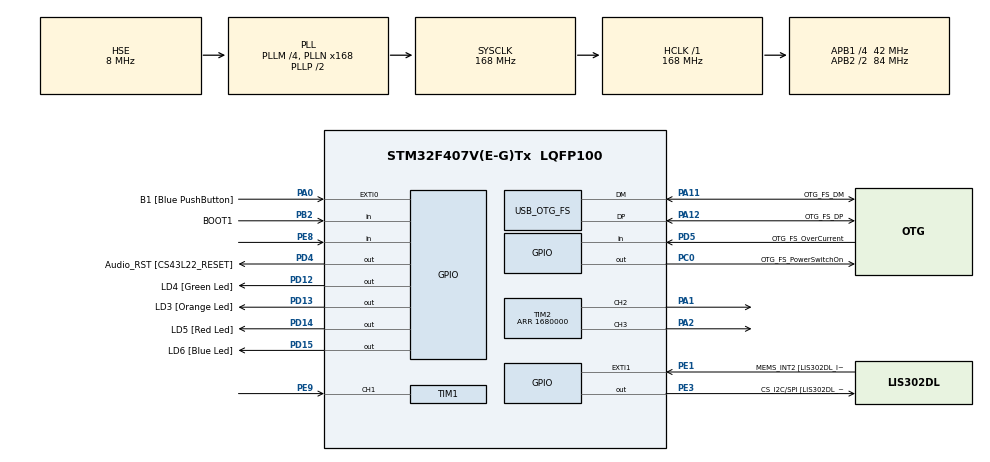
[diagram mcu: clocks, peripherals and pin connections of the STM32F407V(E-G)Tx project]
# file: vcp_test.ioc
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Mcu.Family=STM32F4
Mcu.Name=STM32F407V(E-G)Tx
Mcu.Package=LQFP100
NVIC.OTG_FS_IRQn=true\:0\:1\:true\:false\:true
NVIC.PriorityGroup=NVIC_PRIORITYGROUP_0
NVIC.TIM1_CC_IRQn=true\:0\:0\:false\:false\:true
PA0-WKUP.GPIO_Label=B1 [Blue PushButton]
PA0-WKUP.GPIO_ModeDefaultEXTI=GPIO_MODE_EVT_RISING
PA0-WKUP.GPIO_PuPd=GPIO_NOPULL
PA0-WKUP.Signal=GPXTI0
PA1.Signal=S_TIM2_CH2
PA10.GPIO_Label=OTG_FS_ID
PA10.GPIO_Mode=GPIO_MODE_AF_PP
PA10.GPIO_PuPd=GPIO_NOPULL
PA10.GPIO_Speed=GPIO_SPEED_FREQ_LOW
PA10.Signal=USB_OTG_FS_ID
PA11.GPIO_Label=OTG_FS_DM
PA11.GPIO_Mode=GPIO_MODE_AF_PP
PA11.GPIO_PuPd=GPIO_NOPULL
PA11.GPIO_Speed=GPIO_SPEED_FREQ_LOW
PA11.Mode=Device_Only
PA11.Signal=USB_OTG_FS_DM
PA12.GPIO_Label=OTG_FS_DP
PA12.GPIO_Mode=GPIO_MODE_AF_PP
PA12.GPIO_PuPd=GPIO_NOPULL
PA12.GPIO_Speed=GPIO_SPEED_FREQ_LOW
PA12.Mode=Device_Only
PA12.Signal=USB_OTG_FS_DP
PA13.GPIO_Label=SWDIO
PA13.Signal=SYS_JTMS-SWDIO
PA14.GPIO_Label=SWCLK
PA14.Signal=SYS_JTCK-SWCLK
PA2.Signal=S_TIM2_CH3
PA4.GPIO_Label=I2S3_WS [CS43L22_LRCK]
PA4.GPIO_Mode=GPIO_MODE_AF_PP
PA4.GPIO_PuPd=GPIO_NOPULL
PA4.GPIO_Speed=GPIO_SPEED_FREQ_LOW
PA4.Signal=I2S3_WS
PA5.GPIO_Label=SPI1_SCK [LIS302DL_SCL/SPC]
PA5.GPIO_Mode=GPIO_MODE_AF_PP
PA5.GPIO_PuPd=GPIO_NOPULL
PA5.GPIO_Speed=GPIO_SPEED_FREQ_LOW
PA5.Signal=SPI1_SCK
PA6.GPIO_Label=SPI1_MISO [LIS302DL_SDO]
PA6.GPIO_Mode=GPIO_MODE_AF_PP
PA6.GPIO_PuPd=GPIO_NOPULL
PA6.GPIO_Speed=GPIO_SPEED_FREQ_LOW
PA6.Signal=SPI1_MISO
PA7.GPIO_Label=SPI1_MOSI [LIS302DL_SDA/SDI/SDO]
PA7.GPIO_Mode=GPIO_MODE_AF_PP
PA7.GPIO_PuPd=GPIO_NOPULL
PA7.GPIO_Speed=GPIO_SPEED_FREQ_LOW
PA7.Signal=SPI1_MOSI
PA9.GPIO_Label=VBUS_FS
PA9.GPIO_Mode=GPIO_MODE_INPUT
PA9.GPIO_PuPd=GPIO_NOPULL
PA9.Signal=USB_OTG_FS_VBUS
PB10.GPIO_Label=CLK_IN [MP45DT02_CLK]
PB10.GPIO_Mode=GPIO_MODE_AF_PP
PB10.GPIO_PuPd=GPIO_NOPULL
PB10.GPIO_Speed=GPIO_SPEED_FREQ_LOW
PB10.Signal=I2S2_CK
PB2.GPIO_Label=BOOT1
PB2.GPIO_Mode=GPIO_MODE_INPUT
PB2.GPIO_PuPd=GPIO_NOPULL
PB2.Signal=GPIO_Input
PB3.GPIO_Label=SWO
PB3.Signal=SYS_JTDO-SWO
PB6.GPIO_Label=Audio_SCL [CS43L22_SCL]
PB6.GPIO_Mode=GPIO_MODE_AF_OD
PB6.GPIO_PuPd=GPIO_NOPULL
PB6.GPIO_Speed=GPIO_SPEED_FREQ_LOW
PB6.Signal=I2C1_SCL
PB9.GPIO_Label=Audio_SDA [CS43L22_SDA]
PB9.GPIO_Mode=GPIO_MODE_AF_OD
PB9.GPIO_PuPd=GPIO_NOPULL
PB9.GPIO_Speed=GPIO_SPEED_FREQ_LOW
PB9.Signal=I2C1_SDA
PC0.GPIO_Label=OTG_FS_PowerSwitchOn
PC0.GPIO_PuPd=GPIO_NOPULL
PC0.GPIO_Speed=GPIO_SPEED_FREQ_LOW
PC0.PinState=GPIO_PIN_SET
PC0.Signal=GPIO_Output
PC10.GPIO_Label=I2S3_SCK [CS43L22_SCLK]
PC10.GPIO_Mode=GPIO_MODE_AF_PP
PC10.GPIO_PuPd=GPIO_NOPULL
PC10.GPIO_Speed=GPIO_SPEED_FREQ_LOW
PC10.Signal=I2S3_CK
PC12.GPIO_Label=I2S3_SD [CS43L22_SDIN]
PC12.GPIO_Mode=GPIO_MODE_AF_PP
PC12.GPIO_PuPd=GPIO_NOPULL
PC12.GPIO_Speed=GPIO_SPEED_FREQ_LOW
PC12.Signal=I2S3_SD
PC14-OSC32_IN.GPIO_Label=PC14-OSC32_IN
PC14-OSC32_IN.Mode=LSE-External-Oscillator
PC14-OSC32_IN.Signal=RCC_OSC32_IN
PC15-OSC32_OUT.GPIO_Label=PC15-OSC32_OUT
PC15-OSC32_OUT.Mode=LSE-External-Oscillator
PC15-OSC32_OUT.Signal=RCC_OSC32_OUT
PC3.GPIO_Label=PDM_OUT [MP45DT02_DOUT]
PC3.GPIO_Mode=GPIO_MODE_AF_PP
PC3.GPIO_PuPd=GPIO_NOPULL
PC3.GPIO_Speed=GPIO_SPEED_FREQ_LOW
PC3.Signal=I2S2_SD
PC7.GPIO_Label=I2S3_MCK [CS43L22_MCLK]
PC7.GPIO_Mode=GPIO_MODE_AF_PP
PC7.GPIO_PuPd=GPIO_NOPULL
PC7.GPIO_Speed=GPIO_SPEED_FREQ_LOW
PC7.Signal=I2S3_MCK
PD12.GPIO_Label=LD4 [Green Led]
PD12.GPIO_PuPd=GPIO_NOPULL
PD12.GPIO_Speed=GPIO_SPEED_FREQ_LOW
PD12.Signal=GPIO_Output
PD13.GPIO_Label=LD3 [Orange Led]
PD13.GPIO_PuPd=GPIO_NOPULL
PD13.GPIO_Speed=GPIO_SPEED_FREQ_LOW
PD13.Signal=GPIO_Output
PD14.GPIO_Label=LD5 [Red Led]
PD14.GPIO_PuPd=GPIO_NOPULL
PD14.GPIO_Speed=GPIO_SPEED_FREQ_LOW
PD14.Signal=GPIO_Output
PD15.GPIO_Label=LD6 [Blue Led]
PD15.GPIO_PuPd=GPIO_NOPULL
PD15.GPIO_Speed=GPIO_SPEED_FREQ_LOW
PD15.Signal=GPIO_Output
PD4.GPIO_Label=Audio_RST [CS43L22_RESET]
PD4.GPIO_PuPd=GPIO_NOPULL
PD4.GPIO_Speed=GPIO_SPEED_FREQ_LOW
PD4.Signal=GPIO_Output
PD5.GPIO_Label=OTG_FS_OverCurrent
PD5.GPIO_Mode=GPIO_MODE_INPUT
PD5.GPIO_PuPd=GPIO_NOPULL
PD5.Signal=GPIO_Input
PE1.GPIO_Label=MEMS_INT2 [LIS302DL_INT2]
PE1.GPIO_ModeDefaultEXTI=GPIO_MODE_EVT_RISING
PE1.GPIO_PuPd=GPIO_NOPULL
PE1.Signal=GPXTI1
PE3.GPIO_Label=CS_I2C/SPI [LIS302DL_CS_I2C/SPI]
PE3.GPIO_PuPd=GPIO_NOPULL
PE3.GPIO_Speed=GPIO_SPEED_FREQ_LOW
PE3.Signal=GPIO_Output
PE8.Signal=GPIO_Input
PE9.Signal=S_TIM1_CH1
PH0-OSC_IN.GPIO_Label=PH0-OSC_IN
PH0-OSC_IN.Mode=HSE-External-Oscillator
PH0-OSC_IN.Signal=RCC_OSC_IN
PH1-OSC_OUT.GPIO_Label=PH1-OSC_OUT
PH1-OSC_OUT.Mode=HSE-External-Oscillator
PH1-OSC_OUT.Signal=RCC_OSC_OUT
ProjectManager.HeapSize=0x200
ProjectManager.StackSize=0x400
ProjectManager.TargetToolchain=MDK-ARM V5
RCC.48MHZClocksFreq_Value=48000000
RCC.AHBFreq_Value=168000000
RCC.APB1CLKDivider=RCC_HCLK_DIV4
RCC.APB1Freq_Value=42000000
RCC.APB1TimFreq_Value=84000000
RCC.APB2CLKDivider=RCC_HCLK_DIV2
RCC.APB2Freq_Value=84000000
RCC.APB2TimFreq_Value=168000000
RCC.CortexFreq_Value=168000000
RCC.HCLKFreq_Value=168000000
RCC.HSE_VALUE=8000000
RCC.HSI_VALUE=16000000
RCC.PLLM=4
RCC.PLLN=168
RCC.PLLQ=7
RCC.SYSCLKFreq_VALUE=168000000
RCC.SYSCLKSource=RCC_SYSCLKSOURCE_PLLCLK
RCC.VCOOutputFreq_Value=336000000
SH.S_TIM1_CH1.0=TIM1_CH1,Input_Capture1_from_TI1
SH.S_TIM2_CH2.0=TIM2_CH2,PWM Generation2 CH2
SH.S_TIM2_CH3.0=TIM2_CH3,PWM Generation3 CH3
TIM1.Channel-Input_Capture1_from_TI1=TIM_CHANNEL_1
TIM1.ICPrescaler-Input_Capture1_from_TI1=TIM_ICPSC_DIV4
TIM1.Period=9999
TIM1.Prescaler=167
TIM2.Channel-PWM\ Generation2\ CH2=TIM_CHANNEL_2
TIM2.Channel-PWM\ Generation3\ CH3=TIM_CHANNEL_3
TIM2.Period=1680000
USB_DEVICE.CLASS_NAME_FS=CDC
USB_DEVICE.VirtualModeFS=Cdc_FS
USB_OTG_FS.VirtualMode=Device_Only
VP_USB_DEVICE_VS_USB_DEVICE_CDC_FS.Mode=CDC_FS
board=STM32F4DISCOVERY

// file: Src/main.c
/**
  ******************************************************************************
  * File Name          : main.c
  * Description        : Main program body
  ******************************************************************************
  * This notice applies to any and all portions of this file
  * that are not between comment pairs USER CODE BEGIN and
  * USER CODE END. Other portions of this file, whether
  * inserted by the user or by software development tools
  * are owned by their respective copyright owners.
  *
  * Copyright (c) 2017 STMicroelectronics International N.V.
  * All rights reserved.
  *
  * Redistribution and use in source and binary forms, with or without
  * modification, are permitted, provided that the following conditions are met:
  *
  * 1. Redistribution of source code must retain the above copyright notice,
  *    this list of conditions and the following disclaimer.
  * 2. Redistributions in binary form must reproduce the above copyright notice,
  *    this list of conditions and the following disclaimer in the documentation
  *    and/or other materials provided with the distribution.
  * 3. Neither the name of STMicroelectronics nor the names of other
  *    contributors to this software may be used to endorse or promote products
  *    derived from this software without specific written permission.
  * 4. This software, including modifications and/or derivative works of this
  *    software, must execute solely and exclusively on microcontroller or
  *    microprocessor devices manufactured by or for STMicroelectronics.
  * 5. Redistribution and use of this software other than as permitted under
  *    this license is void and will automatically terminate your rights under
  *    this license.
  *
  * THIS SOFTWARE IS PROVIDED BY STMICROELECTRONICS AND CONTRIBUTORS "AS IS"
  * AND ANY EXPRESS, IMPLIED OR STATUTORY WARRANTIES, INCLUDING, BUT NOT
  * LIMITED TO, THE IMPLIED WARRANTIES OF MERCHANTABILITY, FITNESS FOR A
  * PARTICULAR PURPOSE AND NON-INFRINGEMENT OF THIRD PARTY INTELLECTUAL PROPERTY
  * RIGHTS ARE DISCLAIMED TO THE FULLEST EXTENT PERMITTED BY LAW. IN NO EVENT
  * SHALL STMICROELECTRONICS OR CONTRIBUTORS BE LIABLE FOR ANY DIRECT, INDIRECT,
  * INCIDENTAL, SPECIAL, EXEMPLARY, OR CONSEQUENTIAL DAMAGES (INCLUDING, BUT NOT
  * LIMITED TO, PROCUREMENT OF SUBSTITUTE GOODS OR SERVICES; LOSS OF USE, DATA,
  * OR PROFITS; OR BUSINESS INTERRUPTION) HOWEVER CAUSED AND ON ANY THEORY OF
  * LIABILITY, WHETHER IN CONTRACT, STRICT LIABILITY, OR TORT (INCLUDING
  * NEGLIGENCE OR OTHERWISE) ARISING IN ANY WAY OUT OF THE USE OF THIS SOFTWARE,
  * EVEN IF ADVISED OF THE POSSIBILITY OF SUCH DAMAGE.
  *
  ******************************************************************************
  */
#ifdef __cplusplus
 extern "C" {
#endif
#include "main.h"
#include "stm32f4xx_hal.h"
#include "tim.h"
#include "usb_device.h"
#include "gpio.h"
#ifdef __cplusplus
 }
#endif

/* USER CODE BEGIN Includes */
#include "ros.h"
#include "ros/time.h"
#include "std_msgs/String.h"
#include "std_msgs/Empty.h"
#include <nav_msgs/Odometry.h>
#include "time.h"
#include <tf/tf.h>
#include <tf/transform_broadcaster.h>
#include <ackermann_msgs/AckermannDriveStamped.h>
#include <stdio.h>

#define DEBUG_speed 0

float steering_angle = 0;
extern float encoder_speed ; // r/s
float after_filter = 0;
extern	 uint16_t count ;
extern 	int sum;

const float L = 0.26; //m

/* USER CODE END Includes */

/* USER CODE BEGIN PV */
/* Private variables ---------------------------------------------------------*/
#ifdef __cplusplus
 extern "C" {
#endif
/* USER CODE END PV */

void SystemClock_Config(void);

/* USER CODE BEGIN PFP */
/* Private function prototypes -----------------------------------------------*/

/* USER CODE END PFP */

/* USER CODE BEGIN 0 */

 void messageCb( const std_msgs::Empty& toggle_msg){
  HAL_GPIO_TogglePin(LD6_GPIO_Port,LD6_Pin);   // blink the led
}
 void cmdCb( const ackermann_msgs::AckermannDriveStamped & cmd_msg){
   float k = 1.0 ;
	 float angle_k = 1;
	 if(cmd_msg.drive.speed>=0)
		 k=0.05;
	 else
		 k=0.1;
	 uint32_t move_speed = (cmd_msg.drive.speed*k+1.6) * 84000 ;   //限速1.7
	 steering_angle = (cmd_msg.drive.steering_angle*angle_k+1.5) * 84000;
	__HAL_TIM_SetCompare(&htim2,TIM_CHANNEL_2,move_speed);  //PA1 move_speed:(0-168000)<->(0-2ms)
	__HAL_TIM_SetCompare(&htim2,TIM_CHANNEL_3,steering_angle);  //PA2 steering_angle:(0-168000) <-> (0-2ms)
  HAL_GPIO_TogglePin(LD6_GPIO_Port,LD6_Pin);   // blink the led
	 steering_angle = cmd_msg.drive.steering_angle; //unit: rad
}
 #ifdef __cplusplus
 }
#endif

/* USER CODE END 0 */

int main(void)
{

  /* MCU Configuration----------------------------------------------------------*/

  /* Reset of all peripherals, Initializes the Flash interface and the Systick. */
  HAL_Init();

  /* Configure the system clock */
  SystemClock_Config();

  /* Initialize all configured peripherals */
  MX_GPIO_Init();
  MX_USB_DEVICE_Init();
  MX_TIM1_Init();
  MX_TIM2_Init();

  /* USER CODE BEGIN 2 */
	HAL_TIM_Base_Start(&htim1);
	HAL_TIM_Base_Start_IT(&htim1);

	HAL_TIM_IC_Start(&htim1,TIM_CHANNEL_1);
	HAL_TIM_IC_Start_IT(&htim1,TIM_CHANNEL_1);

	HAL_TIM_Base_Start(&htim2);
	HAL_TIM_PWM_Start(&htim2,TIM_CHANNEL_2);
	HAL_TIM_PWM_Start(&htim2,TIM_CHANNEL_3);
//	__HAL_TIM_SetCompare(&htim2,TIM_CHANNEL_2,84000);
//	__HAL_TIM_SetCompare(&htim2,TIM_CHANNEL_3,168000);  //设置舵机转向和电机的转速

	ros::NodeHandle nh;
	std_msgs::String str_msg;
  ros::Publisher chatter("chatter", &str_msg);

  char hello[13] = "hello world!";

  tf::TransformBroadcaster odom_broadcaster;

  double ds_old = 0;
	double x = 0.0;
	double y = 0.0;
	double theta = 0;
	ros::Time temp;
	float delta_T = 0;

	//char base_link[] = "/base_link";
//	char odom[] = "/odom";

  ros::Subscriber<std_msgs::Empty> sub("toggle_led", messageCb );
  ros::Subscriber<ackermann_msgs::AckermannDriveStamped> sub_cmd("/IRC/cmd_vel", cmdCb );
	nav_msgs::Odometry odom;
	ros::Publisher odom_pub("odom",&odom);
  nh.initNode();

  nh.advertise(odom_pub);
  nh.advertise(chatter);
  nh.subscribe(sub);
	nh.subscribe(sub_cmd);
	odom_broadcaster.init(nh);

  /* USER CODE END 2 */

  /* Infinite loop */
  /* USER CODE BEGIN WHILE */

  while (1)
  {

//		int8_t temp[9] = {0};
//		int64_t num = 0;
//		num = MILLISEONS;
//    for(int i=0;i!=8;i++)
//		 {
//			 temp[7-i] =num%10+'0';
//       num/=10;
//		 }
//		temp[8] = '\n';
//		CDC_Transmit_FS((uint8_t *)temp,sizeof(temp));
//    USBD_CDC_ReceivePacket(&hUsbDeviceFS);

// 		Main_loop();

	str_msg.data = "hello";
  chatter.publish(&str_msg);

	//speed
	double ds = encoder_speed*5.192;  //2.04 速度矫正参数
	ds = 0.9*ds_old + 0.1*ds;
	ds_old = ds;

  float vx = cos(theta)*ds;  //非全向移动平台
  float vy = sin(theta)*ds;
  float vth = ds/L*tan(steering_angle);  //
  //position
	delta_T = nh.now().toSec() - temp.toSec();
	temp = nh.now();
	x += vx*delta_T;
#if DEBUG_speed
 if (x>=1.0)
	 __HAL_TIM_SetCompare(&htim2,TIM_CHANNEL_2,1.6*84000);
 else
	 __HAL_TIM_SetCompare(&htim2,TIM_CHANNEL_2,1.68*84000);
#endif
	y += vy*delta_T;
	theta += vth*delta_T ;
  if (theta>=(2*3.1416))  //anngle from 0 to 2*pi
		theta = 0;

	//since all odometry is 6DOF we'll need a quaternion created from yaw
    geometry_msgs::Quaternion odom_quat = tf::createQuaternionFromYaw(theta);

    //first, we'll publish the transform over tf
    geometry_msgs::TransformStamped odom_trans;
    odom_trans.header.stamp = temp;
    odom_trans.header.frame_id = "odom";
    odom_trans.child_frame_id = "base_link";

    odom_trans.transform.translation.x = x;
    odom_trans.transform.translation.y = y;
    odom_trans.transform.translation.z = 0.0;
    odom_trans.transform.rotation = odom_quat;

    //send the transform
    odom_broadcaster.sendTransform(odom_trans);

    //next, we'll publish the odometry message over ROS
  //  nav_msgs::Odometry odom;
    odom.header.stamp = temp;
    odom.header.frame_id = "odom";

    //set the position
    odom.pose.pose.position.x = x;
    odom.pose.pose.position.y = y;
    odom.pose.pose.position.z = 0.0;
    //odom.pose.pose.orientation = odom_quat;

    //set the velocity
    odom.child_frame_id = "base_link";
    odom.twist.twist.linear.x = vx;
    odom.twist.twist.linear.y = vy;
    odom.twist.twist.angular.z = vth;

    //publish the message
    odom_pub.publish(&odom);

  encoder_speed = 0;
  nh.spinOnce();
	for(int64_t i = 720000;i!=0;i--);

  /* USER CODE END WHILE */

}
}
/* USER CODE BEGIN 3 */
#ifdef __cplusplus
  extern "C" {
#endif
/* USER CODE END 3 */

/** System Clock Configuration
*/
void SystemClock_Config(void)
{

  RCC_OscInitTypeDef RCC_OscInitStruct;
  RCC_ClkInitTypeDef RCC_ClkInitStruct;

    /**Configure the main internal regulator output voltage
    */
  __HAL_RCC_PWR_CLK_ENABLE();

  __HAL_PWR_VOLTAGESCALING_CONFIG(PWR_REGULATOR_VOLTAGE_SCALE1);

    /**Initializes the CPU, AHB and APB busses clocks
    */
  RCC_OscInitStruct.OscillatorType = RCC_OSCILLATORTYPE_HSE;
  RCC_OscInitStruct.HSEState = RCC_HSE_ON;
  RCC_OscInitStruct.PLL.PLLState = RCC_PLL_ON;
  RCC_OscInitStruct.PLL.PLLSource = RCC_PLLSOURCE_HSE;
  RCC_OscInitStruct.PLL.PLLM = 4;
  RCC_OscInitStruct.PLL.PLLN = 168;
  RCC_OscInitStruct.PLL.PLLP = RCC_PLLP_DIV2;
  RCC_OscInitStruct.PLL.PLLQ = 7;
  if (HAL_RCC_OscConfig(&RCC_OscInitStruct) != HAL_OK)
  {
    _Error_Handler(__FILE__, __LINE__);
  }

    /**Initializes the CPU, AHB and APB busses clocks
    */
  RCC_ClkInitStruct.ClockType = RCC_CLOCKTYPE_HCLK|RCC_CLOCKTYPE_SYSCLK
                              |RCC_CLOCKTYPE_PCLK1|RCC_CLOCKTYPE_PCLK2;
  RCC_ClkInitStruct.SYSCLKSource = RCC_SYSCLKSOURCE_PLLCLK;
  RCC_ClkInitStruct.AHBCLKDivider = RCC_SYSCLK_DIV1;
  RCC_ClkInitStruct.APB1CLKDivider = RCC_HCLK_DIV4;
  RCC_ClkInitStruct.APB2CLKDivider = RCC_HCLK_DIV2;

  if (HAL_RCC_ClockConfig(&RCC_ClkInitStruct, FLASH_LATENCY_5) != HAL_OK)
  {
    _Error_Handler(__FILE__, __LINE__);
  }

    /**Configure the Systick interrupt time
    */
  HAL_SYSTICK_Config(HAL_RCC_GetHCLKFreq()/1000);

    /**Configure the Systick
    */
  HAL_SYSTICK_CLKSourceConfig(SYSTICK_CLKSOURCE_HCLK);

  /* SysTick_IRQn interrupt configuration */
  HAL_NVIC_SetPriority(SysTick_IRQn, 0, 0);
}

void _Error_Handler(char * file, int line)
{
  while(1)
  {
  }
}

#ifdef __cplusplus
}
#endif
/************************ (C) COPYRIGHT STMicroelectronics *****END OF FILE****/
